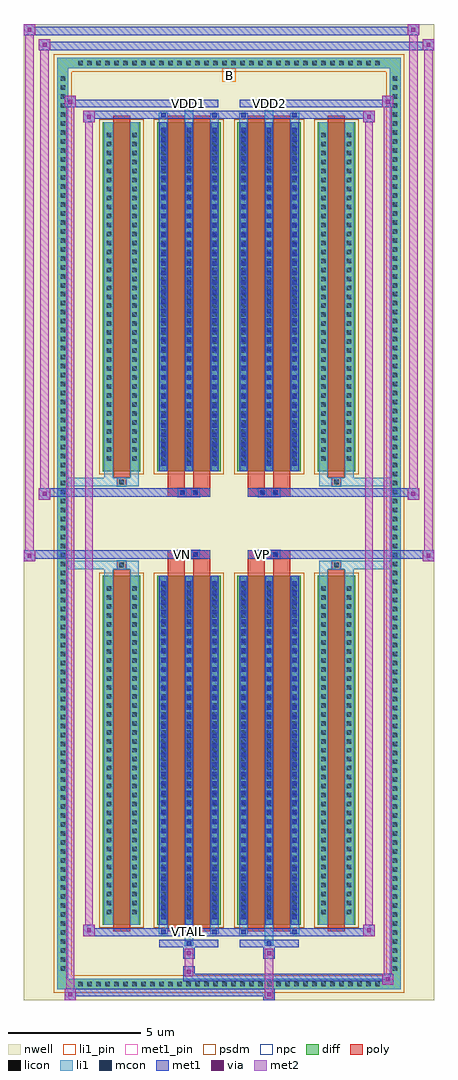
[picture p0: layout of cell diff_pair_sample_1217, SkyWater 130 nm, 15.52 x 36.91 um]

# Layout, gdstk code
import gdstk
lib = gdstk.Library(unit=1e-6, precision=5e-09)
def R(c, l, rs):  # rectangles x0, y0, x1, y1
    for r in rs: c.add(gdstk.rectangle(r[:2], r[2:], *l))
def A(c, l, x, y, w, h, nx, ny, dx, dy):  # array of equal rectangles
    R(c, l, [(x+i*dx, y+j*dy, x+i*dx+w, y+j*dy+h) for i in range(nx) for j in range(ny)])
def P(c, l, *ps):  # polygons
    for p in ps: c.add(gdstk.Polygon(p, *l))
nwell = (64, 20)
diff = (65, 20)
poly = (66, 20)
licon = (66, 44)
li1_pin = (67, 16)
li1 = (67, 20)
mcon = (67, 44)
met1_pin = (68, 16)
met1 = (68, 20)
via = (68, 44)
met2 = (69, 20)
psdm = (94, 20)
npc = (95, 20)

diff_pair_sample_1217 = lib.new_cell('diff_pair_sample_1217')
R(diff_pair_sample_1217, nwell, [(-7.76,-18.02,7.76,18.89), (-5.08,-16.21,-0.01,-0.805), (0.01,-16.21,5.08,-0.805), (-5.08,0.805,-0.01,16.21), (0.01,0.805,5.08,16.21)])
A(diff_pair_sample_1217, diff, -5.815, -17.62, 0.41, 0.41, 34, 2, 0.34, 34.83)
A(diff_pair_sample_1217, diff, -6.49, -17.035, 0.41, 0.41, 1, 100, 0, 0.34)
A(diff_pair_sample_1217, diff, 6.08, -17.035, 0.41, 0.41, 1, 100, 0, 0.34)
R(diff_pair_sample_1217, diff, [(-5.815,-17.62,5.815,-17.21), (-6.49,-17.035,-6.08,17.035), (6.08,-17.035,6.49,17.035), (-4.77,-15.165,-3.35,-1.985), (-2.71,-15.165,-0.32,-1.985), (0.32,-15.165,2.71,-1.985), (3.35,-15.165,4.77,-1.985), (-4.77,1.985,-3.35,15.165), (-2.71,1.985,-0.32,15.165), (0.32,1.985,2.71,15.165), (3.35,1.985,4.77,15.165), (-5.815,17.21,5.815,17.62)])
P(diff_pair_sample_1217, diff, [(6.49,17.62),(-6.49,17.62),(-6.49,-17.21),(-6.08,-17.21),(-6.08,17.21),(6.08,17.21),(6.08,-17.21),(-6.08,-17.21),(-6.49,-17.21),(-6.49,-17.62),(6.49,-17.62)])
R(diff_pair_sample_1217, poly, [(-4.38,-15.415,-3.74,-1.735), (-2.32,-15.415,-1.68,-1.735), (-1.35,-15.415,-0.71,-1.735), (0.71,-15.415,1.35,-1.735), (1.68,-15.415,2.32,-1.735), (3.74,-15.415,4.38,-1.735), (-4.225,-1.735,-3.895,-1.405), (-4.225,-1.735,-3.895,-1.405), (-2.32,-1.735,-1.68,-1.335), (-1.35,-1.735,-0.71,-1.335), (0.71,-1.735,1.35,-1.335), (1.68,-1.735,2.32,-1.335), (3.895,-1.735,4.225,-1.405), (3.895,-1.735,4.225,-1.405), (-2.32,-1.335,-0.71,-1.005), (-1.93,-1.335,-1.6,-1.005), (-1.43,-1.335,-1.1,-1.005), (0.71,-1.335,2.32,-1.005), (1.1,-1.335,1.43,-1.005), (1.6,-1.335,1.93,-1.005), (-2.32,1.005,-0.71,1.335), (-1.93,1.005,-1.6,1.335), (-1.43,1.005,-1.1,1.335), (0.71,1.005,2.32,1.335), (1.1,1.005,1.43,1.335), (1.6,1.005,1.93,1.335), (-2.32,1.335,-1.68,1.735), (-1.35,1.335,-0.71,1.735), (0.71,1.335,1.35,1.735), (1.68,1.335,2.32,1.735), (-4.225,1.405,-3.895,1.735), (-4.225,1.405,-3.895,1.735), (3.895,1.405,4.225,1.735), (3.895,1.405,4.225,1.735), (-4.38,1.735,-3.74,15.415), (-2.32,1.735,-1.68,15.415), (-1.35,1.735,-0.71,15.415), (0.71,1.735,1.35,15.415), (1.68,1.735,2.32,15.415), (3.74,1.735,4.38,15.415)])
A(diff_pair_sample_1217, licon, -5.695, -17.5, 0.17, 0.17, 34, 2, 0.34, 34.83)
A(diff_pair_sample_1217, licon, -6.37, -16.915, 0.17, 0.17, 1, 100, 0, 0.34)
A(diff_pair_sample_1217, licon, 6.2, -16.915, 0.17, 0.17, 1, 100, 0, 0.34)
A(diff_pair_sample_1217, licon, -4.63, -14.78, 0.17, 0.17, 1, 37, 0, 0.34)
A(diff_pair_sample_1217, licon, -3.66, -14.78, 0.17, 0.17, 1, 37, 0, 0.34)
A(diff_pair_sample_1217, licon, -2.57, -14.78, 0.17, 0.17, 3, 37, 0.97, 0.34)
A(diff_pair_sample_1217, licon, 0.46, -14.78, 0.17, 0.17, 3, 37, 0.97, 0.34)
A(diff_pair_sample_1217, licon, 3.49, -14.78, 0.17, 0.17, 1, 37, 0, 0.34)
A(diff_pair_sample_1217, licon, 4.46, -14.78, 0.17, 0.17, 1, 37, 0, 0.34)
A(diff_pair_sample_1217, licon, -4.63, 2.37, 0.17, 0.17, 1, 37, 0, 0.34)
A(diff_pair_sample_1217, licon, -3.66, 2.37, 0.17, 0.17, 1, 37, 0, 0.34)
A(diff_pair_sample_1217, licon, -2.57, 2.37, 0.17, 0.17, 3, 37, 0.97, 0.34)
A(diff_pair_sample_1217, licon, 0.46, 2.37, 0.17, 0.17, 3, 37, 0.97, 0.34)
A(diff_pair_sample_1217, licon, 3.49, 2.37, 0.17, 0.17, 1, 37, 0, 0.34)
A(diff_pair_sample_1217, licon, 4.46, 2.37, 0.17, 0.17, 1, 37, 0, 0.34)
R(diff_pair_sample_1217, licon, [(-4.145,-1.655,-3.975,-1.485), (3.975,-1.655,4.145,-1.485), (-1.85,-1.255,-1.68,-1.085), (-1.35,-1.255,-1.18,-1.085), (1.18,-1.255,1.35,-1.085), (1.68,-1.255,1.85,-1.085), (-1.85,1.085,-1.68,1.255), (-1.35,1.085,-1.18,1.255), (1.18,1.085,1.35,1.255), (1.68,1.085,1.85,1.255), (-4.145,1.485,-3.975,1.655), (3.975,1.485,4.145,1.655)])
R(diff_pair_sample_1217, li1_pin, [(-0.25,16.71,0.25,17.21)])
A(diff_pair_sample_1217, li1, -5.775, -17.58, 0.33, 0.33, 34, 2, 0.34, 34.83)
A(diff_pair_sample_1217, li1, -6.45, -16.995, 0.33, 0.33, 1, 100, 0, 0.34)
A(diff_pair_sample_1217, li1, 6.12, -16.995, 0.33, 0.33, 1, 100, 0, 0.34)
A(diff_pair_sample_1217, li1, -2.65, -15.165, 0.33, 13.18, 3, 2, 0.97, 17.15)
A(diff_pair_sample_1217, li1, 0.38, -15.165, 0.33, 13.18, 3, 2, 0.97, 17.15)
A(diff_pair_sample_1217, li1, -2.57, -14.96, 0.17, 0.17, 3, 36, 0.97, 0.36)
A(diff_pair_sample_1217, li1, -2.57, -14.96, 0.17, 12.77, 3, 2, 0.97, 17.15)
A(diff_pair_sample_1217, li1, 0.46, -14.96, 0.17, 0.17, 3, 36, 0.97, 0.36)
A(diff_pair_sample_1217, li1, 0.46, -14.96, 0.17, 12.77, 3, 2, 0.97, 17.15)
A(diff_pair_sample_1217, li1, -4.71, -14.86, 0.33, 0.33, 1, 37, 0, 0.34)
A(diff_pair_sample_1217, li1, -3.74, -14.86, 0.33, 0.33, 1, 37, 0, 0.34)
A(diff_pair_sample_1217, li1, -2.65, -14.86, 0.33, 0.33, 3, 37, 0.97, 0.34)
A(diff_pair_sample_1217, li1, 0.38, -14.86, 0.33, 0.33, 3, 37, 0.97, 0.34)
A(diff_pair_sample_1217, li1, 3.41, -14.86, 0.33, 0.33, 1, 37, 0, 0.34)
A(diff_pair_sample_1217, li1, 4.38, -14.86, 0.33, 0.33, 1, 37, 0, 0.34)
A(diff_pair_sample_1217, li1, -2.57, 2.19, 0.17, 0.17, 3, 36, 0.97, 0.36)
A(diff_pair_sample_1217, li1, 0.46, 2.19, 0.17, 0.17, 3, 36, 0.97, 0.36)
A(diff_pair_sample_1217, li1, -4.71, 2.29, 0.33, 0.33, 1, 37, 0, 0.34)
A(diff_pair_sample_1217, li1, -3.74, 2.29, 0.33, 0.33, 1, 37, 0, 0.34)
A(diff_pair_sample_1217, li1, -2.65, 2.29, 0.33, 0.33, 3, 37, 0.97, 0.34)
A(diff_pair_sample_1217, li1, 0.38, 2.29, 0.33, 0.33, 3, 37, 0.97, 0.34)
A(diff_pair_sample_1217, li1, 3.41, 2.29, 0.33, 0.33, 1, 37, 0, 0.34)
A(diff_pair_sample_1217, li1, 4.38, 2.29, 0.33, 0.33, 1, 37, 0, 0.34)
R(diff_pair_sample_1217, li1, [(-6.49,-17.62,-6.08,-17.21), (-6.49,-17.62,-6.08,-17.21), (-6.08,-17.62,6.08,-17.21), (6.08,-17.62,6.49,-17.21), (6.08,-17.62,6.49,-17.21), (-6.49,-17.21,-6.08,17.21), (6.08,-17.21,6.49,17.21), (-1.68,-15.97,-1.35,-15.165), (-1.6,-15.97,-1.43,-15.8), (1.35,-15.97,1.68,-15.165), (1.43,-15.97,1.6,-15.8), (-2.65,-15.54,-2.32,-15.165), (-2.57,-15.54,-2.4,-15.37), (-0.71,-15.54,-0.38,-15.165), (-0.63,-15.54,-0.46,-15.37), (0.38,-15.54,0.71,-15.165), (0.46,-15.54,0.63,-15.37), (2.32,-15.54,2.65,-15.165), (2.4,-15.54,2.57,-15.37), (-4.71,-15.165,-4.38,-1.985), (-3.74,-15.165,-3.41,-1.985), (3.41,-15.165,3.74,-1.985), (4.38,-15.165,4.71,-1.985), (-4.71,-1.985,-4.38,-1.405), (-3.74,-1.985,-3.41,-1.405), (3.41,-1.985,3.74,-1.405), (4.38,-1.985,4.71,-1.405), (-6.49,-1.735,-4.225,-1.405), (-4.71,-1.735,-4.225,-1.405), (-4.225,-1.735,-3.895,-1.405), (-3.895,-1.735,-3.41,-1.405), (3.41,-1.735,3.895,-1.405), (3.895,-1.735,4.225,-1.405), (3.895,-1.735,6.49,-1.405), (4.225,-1.735,4.71,-1.405), (-1.93,-1.335,-1.6,-1.005), (-1.43,-1.335,-1.1,-1.005), (1.1,-1.335,1.43,-1.005), (1.6,-1.335,1.93,-1.005), (-1.93,1.005,-1.6,1.335), (-1.43,1.005,-1.1,1.335), (1.1,1.005,1.43,1.335), (1.6,1.005,1.93,1.335), (-6.49,1.405,-4.225,1.735), (-4.71,1.405,-4.225,1.735), (-4.71,1.405,-4.38,1.985), (-4.225,1.405,-3.895,1.735), (-3.895,1.405,-3.41,1.735), (-3.74,1.405,-3.41,1.985), (3.41,1.405,3.895,1.735), (3.41,1.405,3.74,1.985), (3.895,1.405,4.225,1.735), (3.895,1.405,6.49,1.735), (4.225,1.405,4.71,1.735), (4.38,1.405,4.71,1.985), (-4.71,1.985,-4.38,15.165), (-3.74,1.985,-3.41,15.165), (3.41,1.985,3.74,15.165), (4.38,1.985,4.71,15.165), (-2.65,15.165,-2.32,15.54), (-1.68,15.165,-1.35,15.97), (-0.71,15.165,-0.38,15.54), (0.38,15.165,0.71,15.54), (1.35,15.165,1.68,15.97), (2.32,15.165,2.65,15.54), (-2.57,15.37,-2.4,15.54), (-0.63,15.37,-0.46,15.54), (0.46,15.37,0.63,15.54), (2.4,15.37,2.57,15.54), (-1.6,15.8,-1.43,15.97), (1.43,15.8,1.6,15.97), (-6.49,17.21,-6.08,17.62), (-6.49,17.21,-6.08,17.62), (-6.08,17.21,6.08,17.62), (6.08,17.21,6.49,17.62), (6.08,17.21,6.49,17.62)])
A(diff_pair_sample_1217, mcon, -2.57, -14.96, 0.17, 0.17, 3, 36, 0.97, 0.36)
A(diff_pair_sample_1217, mcon, 0.46, -14.96, 0.17, 0.17, 3, 36, 0.97, 0.36)
A(diff_pair_sample_1217, mcon, -2.57, 2.19, 0.17, 0.17, 3, 36, 0.97, 0.36)
A(diff_pair_sample_1217, mcon, 0.46, 2.19, 0.17, 0.17, 3, 36, 0.97, 0.36)
R(diff_pair_sample_1217, mcon, [(-1.6,-15.97,-1.43,-15.8), (1.43,-15.97,1.6,-15.8), (-2.57,-15.54,-2.4,-15.37), (-0.63,-15.54,-0.46,-15.37), (0.46,-15.54,0.63,-15.37), (2.4,-15.54,2.57,-15.37), (-1.85,-1.255,-1.68,-1.085), (-1.35,-1.255,-1.18,-1.085), (1.18,-1.255,1.35,-1.085), (1.68,-1.255,1.85,-1.085), (-1.85,1.085,-1.68,1.255), (-1.35,1.085,-1.18,1.255), (1.18,1.085,1.35,1.255), (1.68,1.085,1.85,1.255), (-2.57,15.37,-2.4,15.54), (-0.63,15.37,-0.46,15.54), (0.46,15.37,0.63,15.54), (2.4,15.37,2.57,15.54), (-1.6,15.8,-1.43,15.97), (1.43,15.8,1.6,15.97)])
R(diff_pair_sample_1217, met1_pin, [(-1.65,-15.58,-1.38,-15.31), (-1.9,-1.295,-1.63,-1.025), (1.13,-1.295,1.4,-1.025), (-1.65,15.76,-1.38,16.03), (1.38,15.76,1.65,16.03)])
A(diff_pair_sample_1217, met1, -2.63, -15.165, 0.29, 13.18, 3, 2, 0.97, 17.15)
A(diff_pair_sample_1217, met1, 0.4, -15.165, 0.29, 13.18, 3, 2, 0.97, 17.15)
A(diff_pair_sample_1217, met1, -2.63, -15.02, 0.29, 0.29, 3, 36, 0.97, 0.36)
A(diff_pair_sample_1217, met1, 0.4, -15.02, 0.29, 0.29, 3, 36, 0.97, 0.36)
A(diff_pair_sample_1217, met1, -2.63, 2.13, 0.29, 0.29, 3, 36, 0.97, 0.36)
A(diff_pair_sample_1217, met1, 0.4, 2.13, 0.29, 0.29, 3, 36, 0.97, 0.36)
R(diff_pair_sample_1217, met1, [(-6.22,-18.02,-5.79,-17.59), (1.3,-18.02,1.73,-17.59), (-6.22,-17.88,1.73,-17.59), (5.79,-17.45,6.22,-17.02), (-1.73,-17.31,6.22,-17.02), (-1.73,-17.17,-1.3,-16.74), (-1.73,-16.46,-1.3,-16.03), (1.3,-16.46,1.73,-16.03), (-2.63,-16.03,-0.4,-15.74), (-1.66,-16.03,-1.37,-15.74), (0.4,-16.03,2.63,-15.74), (1.37,-16.03,1.66,-15.74), (-5.51,-15.6,-5.08,-15.17), (-5.51,-15.6,-2.63,-15.31), (-2.63,-15.6,-2.34,-15.31), (-2.63,-15.6,-0.4,-15.31), (-0.69,-15.6,-0.4,-15.31), (-0.4,-15.6,0.4,-15.31), (0.4,-15.6,0.69,-15.31), (0.4,-15.6,2.63,-15.31), (2.34,-15.6,2.63,-15.31), (2.63,-15.6,5.51,-15.31), (5.08,-15.6,5.51,-15.17), (-7.76,-1.435,-7.33,-1.005), (7.33,-1.435,7.76,-1.005), (-7.76,-1.335,-0.71,-1.005), (-2.32,-1.335,-0.71,-1.005), (0.71,-1.335,2.32,-1.005), (0.71,-1.335,7.76,-1.005), (-1.91,-1.315,-1.62,-1.025), (-1.41,-1.315,-1.12,-1.025), (1.12,-1.315,1.41,-1.025), (1.62,-1.315,1.91,-1.025), (-7.19,0.905,-6.76,1.335), (6.76,0.905,7.19,1.335), (-7.19,1.005,-2.32,1.335), (-2.32,1.005,-0.71,1.335), (0.71,1.005,2.32,1.335), (2.32,1.005,7.19,1.335), (-1.91,1.025,-1.62,1.315), (-1.41,1.025,-1.12,1.315), (1.12,1.025,1.41,1.315), (1.62,1.025,1.91,1.315), (-5.51,15.17,-5.08,15.6), (5.08,15.17,5.51,15.6), (-5.51,15.31,-2.63,15.6), (-2.63,15.31,-2.34,15.6), (-2.63,15.31,-0.4,15.6), (-0.69,15.31,-0.4,15.6), (-0.4,15.31,0.4,15.6), (0.4,15.31,0.69,15.6), (0.4,15.31,2.63,15.6), (2.34,15.31,2.63,15.6), (2.63,15.31,5.51,15.6), (-6.22,15.74,-5.79,16.17), (-6.22,15.74,-2.63,16.03), (-2.63,15.74,-0.4,16.03), (-1.66,15.74,-1.37,16.03), (0.4,15.74,2.63,16.03), (1.37,15.74,1.66,16.03), (2.63,15.74,6.22,16.03), (5.79,15.74,6.22,16.17), (-7.19,17.89,-6.76,18.32), (-7.19,17.89,-5.08,18.22), (-5.08,17.89,5.08,18.22), (5.08,17.89,7.76,18.22), (7.33,17.89,7.76,18.32), (-7.76,18.46,-7.33,18.89), (-7.76,18.46,-5.08,18.79), (-5.08,18.46,5.08,18.79), (5.08,18.46,7.19,18.79), (6.76,18.46,7.19,18.89)])
R(diff_pair_sample_1217, via, [(-6.08,-17.88,-5.93,-17.73), (1.44,-17.88,1.59,-17.73), (5.93,-17.31,6.08,-17.16), (-1.59,-17.03,-1.44,-16.88), (-1.59,-16.32,-1.44,-16.17), (1.44,-16.32,1.59,-16.17), (-5.37,-15.46,-5.22,-15.31), (5.22,-15.46,5.37,-15.31), (-7.62,-1.295,-7.47,-1.145), (7.47,-1.295,7.62,-1.145), (-7.05,1.045,-6.9,1.195), (6.9,1.045,7.05,1.195), (-5.37,15.31,-5.22,15.46), (5.22,15.31,5.37,15.46), (-6.08,15.88,-5.93,16.03), (5.93,15.88,6.08,16.03), (-7.05,18.03,-6.9,18.18), (7.47,18.03,7.62,18.18), (-7.62,18.6,-7.47,18.75), (6.9,18.6,7.05,18.75)])
R(diff_pair_sample_1217, met2, [(-6.22,-18.02,-5.79,-17.59), (-6.15,-18.02,-5.86,16.17), (-5.86,-18.02,-5.79,-17.59), (-6.17,-17.97,-5.84,-17.64), (1.35,-17.97,1.68,-17.64), (1.35,-17.64,1.68,-16.41), (5.79,-17.45,6.22,-17.02), (5.86,-17.45,6.15,16.17), (6.15,-17.45,6.22,-17.02), (5.84,-17.4,6.17,-17.07), (-1.68,-17.12,-1.35,-16.79), (-1.68,-16.79,-1.35,-16.41), (-1.68,-16.41,-1.35,-16.08), (1.35,-16.41,1.68,-16.08), (-5.51,-15.6,-5.08,-15.17), (-5.44,-15.6,-5.15,15.6), (-5.15,-15.6,-5.08,-15.17), (5.08,-15.6,5.51,-15.17), (5.15,-15.6,5.44,15.6), (5.44,-15.6,5.51,-15.17), (-5.46,-15.55,-5.13,-15.22), (5.13,-15.55,5.46,-15.22), (-7.76,-1.435,-7.33,-1.005), (-7.71,-1.435,-7.38,18.89), (-7.38,-1.435,-7.33,-1.005), (7.33,-1.435,7.76,-1.005), (7.38,-1.435,7.71,18.32), (7.71,-1.435,7.76,-1.005), (-7.71,-1.385,-7.38,-1.055), (7.38,-1.385,7.71,-1.055), (-7.19,0.905,-6.76,1.335), (-7.14,0.905,-6.81,18.32), (-6.81,0.905,-6.76,1.335), (6.76,0.905,7.19,1.335), (6.81,0.905,7.14,18.89), (7.14,0.905,7.19,1.335), (-7.14,0.955,-6.81,1.285), (6.81,0.955,7.14,1.285), (-5.51,15.17,-5.08,15.6), (-5.15,15.17,-5.08,15.6), (5.08,15.17,5.51,15.6), (5.44,15.17,5.51,15.6), (-5.46,15.22,-5.13,15.55), (5.13,15.22,5.46,15.55), (-6.22,15.74,-5.79,16.17), (-5.86,15.74,-5.79,16.17), (5.79,15.74,6.22,16.17), (6.15,15.74,6.22,16.17), (-6.17,15.79,-5.84,16.12), (5.84,15.79,6.17,16.12), (-7.19,17.89,-6.76,18.32), (-6.81,17.89,-6.76,18.32), (7.33,17.89,7.76,18.32), (7.71,17.89,7.76,18.32), (-7.14,17.94,-6.81,18.27), (7.38,17.94,7.71,18.27), (-7.76,18.46,-7.33,18.89), (-7.38,18.46,-7.33,18.89), (6.76,18.46,7.19,18.89), (7.14,18.46,7.19,18.89), (-7.71,18.51,-7.38,18.84), (6.81,18.51,7.14,18.84)])
R(diff_pair_sample_1217, psdm, [(-4.9,-15.295,-3.22,-1.855), (-2.84,-15.295,-0.19,-1.855), (0.19,-15.295,2.84,-1.855), (3.22,-15.295,4.9,-1.855), (-4.9,1.855,-3.22,15.295), (-2.84,1.855,-0.19,15.295), (0.19,1.855,2.84,15.295), (3.22,1.855,4.9,15.295)])
P(diff_pair_sample_1217, psdm, [(6.62,17.75),(-6.62,17.75),(-6.62,-17.08),(-5.95,-17.08),(-5.95,17.08),(5.95,17.08),(5.95,-17.08),(-5.95,-17.08),(-6.62,-17.08),(-6.62,-17.75),(6.62,-17.75)])
R(diff_pair_sample_1217, npc, [(-4.245,-1.755,-3.875,-1.385), (3.875,-1.755,4.245,-1.385), (-1.95,-1.355,-1.58,-0.985), (-1.95,-1.355,-1.08,-0.985), (-1.95,-1.355,-1.08,-0.985), (-1.45,-1.355,-1.08,-0.985), (1.08,-1.355,1.45,-0.985), (1.08,-1.355,1.95,-0.985), (1.08,-1.355,1.95,-0.985), (1.58,-1.355,1.95,-0.985), (-1.95,0.985,-1.58,1.355), (-1.95,0.985,-1.08,1.355), (-1.95,0.985,-1.08,1.355), (-1.45,0.985,-1.08,1.355), (1.08,0.985,1.45,1.355), (1.08,0.985,1.95,1.355), (1.08,0.985,1.95,1.355), (1.58,0.985,1.95,1.355), (-4.245,1.385,-3.875,1.755), (3.875,1.385,4.245,1.755)])
diff_pair_sample_1217.add(gdstk.Label('VTAIL', (-1.515,-15.445), layer=68, texttype=5))
diff_pair_sample_1217.add(gdstk.Label('VN', (-1.765,-1.16), layer=68, texttype=5))
diff_pair_sample_1217.add(gdstk.Label('VP', (1.265,-1.16), layer=68, texttype=5))
diff_pair_sample_1217.add(gdstk.Label('B', (0,16.96), layer=67, texttype=5))
diff_pair_sample_1217.add(gdstk.Label('VDD2', (1.515,15.895), layer=68, texttype=5))
diff_pair_sample_1217.add(gdstk.Label('VDD1', (-1.515,15.895), layer=68, texttype=5))

lib.write_gds('diff_pair_sample_1217.gds')
